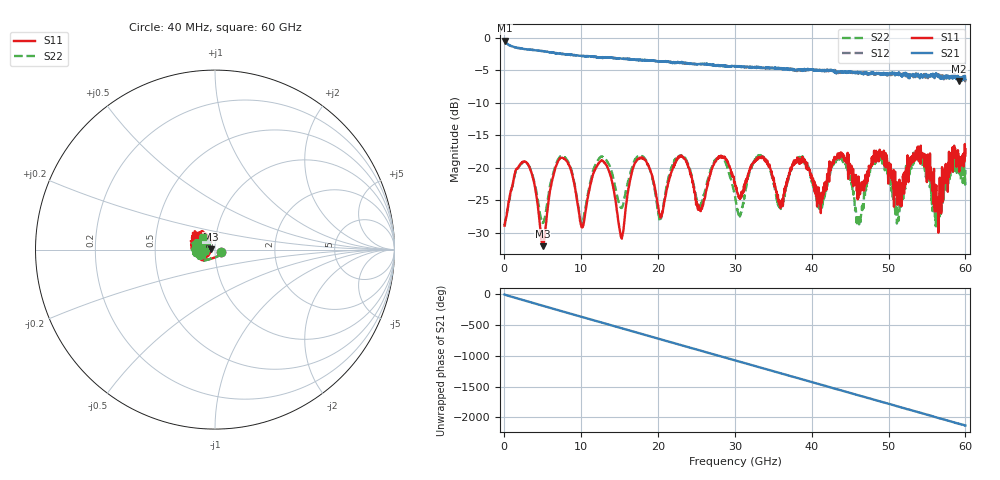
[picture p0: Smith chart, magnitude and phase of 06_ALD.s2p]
! File created by 'SoftPlot +Plus+ Measurement Management Software'
! SoftPlot +Plus+ Measurement Management Software
! Start 40.000000 MHz  Stop 60.000000 GHz  Points 1601
# MHZ S RI R 50
! S-Parameter data, F S11 S21 S12 S22
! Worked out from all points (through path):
!   1601 points, 40 MHz to 60 GHz, reference 50 ohm
!   highest |S21| = -0.38 dB at 40 MHz (marker M1); lowest = -6.6 dB at 59.18 GHz (marker M2)
!   group delay of S21, straight-line fit = 98.4 ps
!   lowest |S11| = -32.1 dB at 4.987 GHz (marker M3), VSWR 1.05, Z = 47.6 + j0.086 ohm
!   |S11| at or under -10 dB: start of sweep to end of sweep
!   |S22| runs from -29.0 to -17.7 dB; largest |S21 - S12| = 0.061
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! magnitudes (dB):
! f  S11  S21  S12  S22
! 40 MHz  -28.9  -0.4  -0.4  -28.7
! 2.738 GHz  -19.1  -1.7  -1.7  -19.1
! 4.987 GHz  -32.1  -2.0  -2.0  -28.5
! 7.385 GHz  -18.5  -2.4  -2.4  -18.2
! 10.05 GHz  -29.2  -2.8  -2.8  -28.5
! 12.67 GHz  -18.9  -3.0  -3.0  -18.2
! 15.22 GHz  -30.7  -3.2  -3.2  -26.2
! 17.5 GHz  -18.6  -3.4  -3.4  -18.2
! 20.05 GHz  -26.2  -3.6  -3.7  -27.3
! 22.79 GHz  -18.2  -3.8  -3.8  -18.2
! 25.41 GHz  -26.4  -4.0  -4.0  -25.9
! 28 GHz  -18.3  -4.3  -4.3  -18.3
! 30.02 GHz  -22.4  -4.3  -4.3  -24.3
! 40.03 GHz  -21.3  -4.9  -4.9  -22.1
! 43.92 GHz  -17.7  -5.1  -5.2  -18.7
! 46.13 GHz  -23.5  -5.3  -5.3  -27.9
! 50.03 GHz  -19.5  -5.6  -5.6  -21.6
! 51.12 GHz  -25.7  -5.6  -5.4  -28.4
! 54.04 GHz  -17.8  -5.8  -5.9  -18.6
! 56.33 GHz  -26.5  -5.9  -5.8  -27.4
! 59.18 GHz  -20.0  -6.6  -6.1  -19.2
! 60 GHz  -17.1  -6.3  -6.1  -20.3
